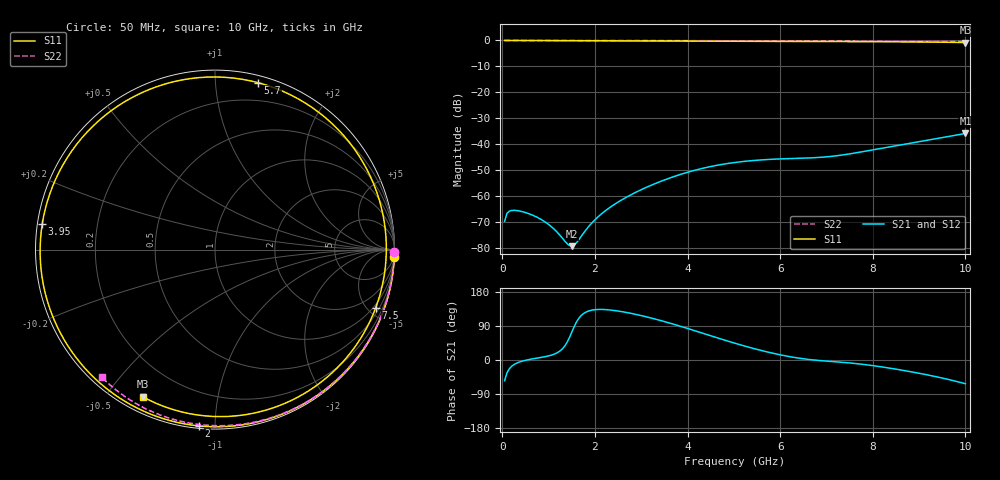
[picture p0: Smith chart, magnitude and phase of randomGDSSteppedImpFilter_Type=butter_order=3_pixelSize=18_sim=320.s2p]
! freq	dB(S11)	phase(S11)	dB(S12)	phase(S12)
!  dB(S21)	phase(S21)	dB(S22)	phase(S22)
!S-par simulation data
#  GHz  S  DB  R 50
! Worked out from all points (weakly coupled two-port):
!   200 points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, 50 MHz to 10 GHz, reference 50 ohm
!   highest |S21| = -35.82 dB at 10 GHz (marker M1); lowest = -79.2 dB at 1.5 GHz (marker M2)
!   lowest |S11| = -0.8 dB at 10 GHz (marker M3), VSWR 22.07, Z = 3.14 - j31.1 ohm
!   |S11| at or under -10 dB: nowhere
!   |S22| runs from -0.4 to 0.0 dB; largest |S21 - S12| = 0
!   S11 on the Smith chart (normalised r, x): 50 MHz: 0, -47; 2 GHz: 0.01, -0.91; 3.95 GHz: 0.01, +0.07; 5.7 GHz: 0.05, +1.29; 7.5 GHz: 0.81, -5.60; 10 GHz: 0.06, -0.62
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0.05  -0.00 -2.4  -69.66 -54.7  -69.66 -54.7  -0.00 -0.8
0.1  -0.00 -4.9  -66.60 -34.4  -66.60 -34.4  -0.00 -1.5
0.2  -0.00 -9.8  -65.47 -16.8  -65.47 -16.8  -0.00 -3.1
0.6  -0.03 -29.1  -66.88 1.8  -66.88 1.8  -0.01 -9.1
1  -0.06 -48.3  -70.85 10.8  -70.85 10.8  -0.02 -15.2
1.5  -0.09 -71.9  -79.22 73.3  -79.22 73.3  -0.03 -22.6
1.75  -0.10 -83.6  -74.30 122.2  -74.30 122.2  -0.03 -26.3
2  -0.12 -95.2  -69.07 132.8  -69.07 132.8  -0.04 -30.0
2.65  -0.15 -125.5  -60.66 126.2  -60.66 126.2  -0.05 -39.4
3.4  -0.20 -161.2  -54.41 104.8  -54.41 104.8  -0.07 -50.1
3.95  -0.24 171.5  -51.03 85.2  -51.03 85.2  -0.08 -57.7
4.5  -0.28 142.8  -48.55 64.0  -48.55 64.0  -0.09 -65.2
5.05  -0.32 112.5  -46.93 43.3  -46.93 43.3  -0.11 -72.4
5.4  -0.34 92.6  -46.26 31.2  -46.26 31.2  -0.12 -77.0
5.7  -0.35 75.5  -45.87 21.9  -45.87 21.9  -0.13 -80.8
6.25  -0.37 44.3  -45.46 7.9  -45.46 7.9  -0.16 -87.8
6.7  -0.39 19.8  -45.19 0.3  -45.19 0.3  -0.18 -93.3
7.1  -0.40 -0.7  -44.65 -3.8  -44.65 -3.8  -0.20 -98.2
7.5  -0.43 -19.9  -43.68 -7.8  -43.68 -7.8  -0.23 -103.0
8.35  -0.50 -56.3  -41.01 -21.1  -41.01 -21.1  -0.29 -112.9
9.15  -0.61 -86.4  -38.47 -38.6  -38.47 -38.6  -0.36 -122.1
10  -0.79 -116.1  -35.82 -62.7  -35.82 -62.7  -0.44 -131.7
